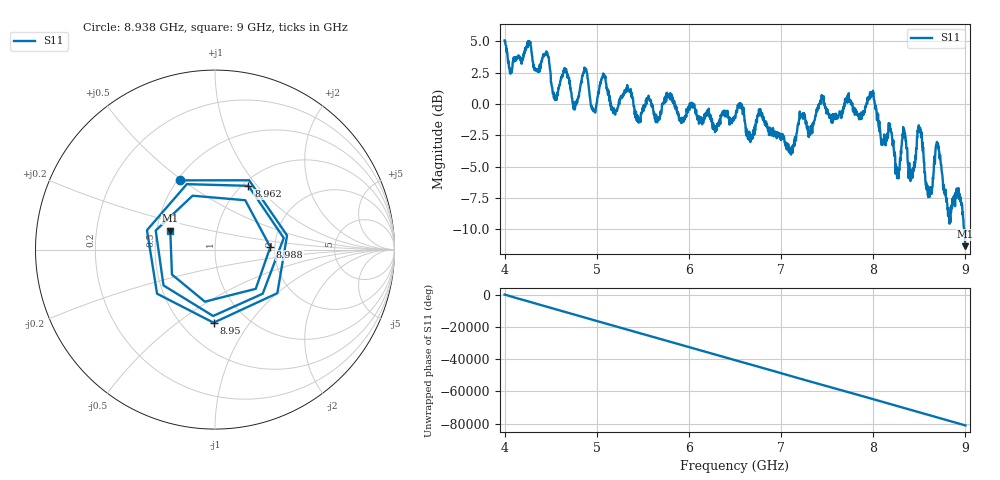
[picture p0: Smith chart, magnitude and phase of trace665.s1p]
! Created with skrf 1.8.0 (http://scikit-rf.org).
# Hz S RI R 50.0
!freq ReS11 ImS11
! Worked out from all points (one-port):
!   1601 points, 4 GHz to 9 GHz, reference 50 ohm
!   lowest |S11| = -11.4 dB at 9 GHz (marker M1), VSWR 1.74, Z = 29.5 + j6.73 ohm
!   |S11| at or under -10 dB: 8.985777 GHz to end of sweep
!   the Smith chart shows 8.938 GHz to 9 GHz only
!   S11 on the Smith chart (normalised r, x): 8.938 GHz: 0.52, +0.49; 8.95 GHz: 0.71, -0.69; 8.962 GHz: 1.06, +0.90; 8.988 GHz: 1.89, +0.06; 9 GHz: 0.59, +0.13
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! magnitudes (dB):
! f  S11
! 4 GHz  5.1
! 4.062 GHz  2.4
! 4.456 GHz  4.0
! 4.547 GHz  0.5
! 4.625 GHz  2.3
! 4.762 GHz  -0.4
! 4.872 GHz  2.7
! 4.962 GHz  -0.6
! 5.25 GHz  0.4
! 5.875 GHz  -0.7
! 6.5 GHz  -1.1
! 7.125 GHz  -3.9
! 7.225 GHz  -1.0
! 7.75 GHz  0.2
! 7.988 GHz  0.8
! 8.262 GHz  -5.3
! 8.331 GHz  -2.6
! 8.375 GHz  -4.7
! 8.425 GHz  -5.9
! 8.503 GHz  -1.9
! 8.594 GHz  -7.3
! 8.7 GHz  -3.2
! 8.819 GHz  -8.9
! 8.938 GHz  -7.3
! 8.95 GHz  -7.8
! 8.962 GHz  -7.9
! 8.988 GHz  -10.2
! 9 GHz  -11.4
